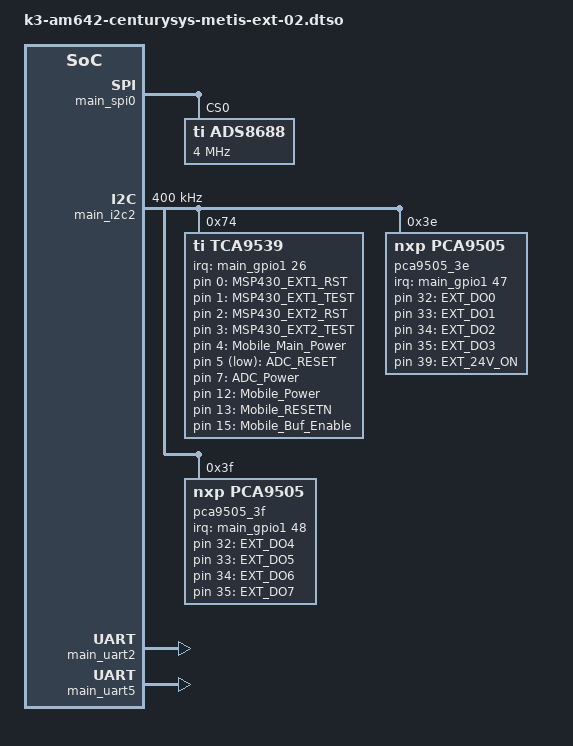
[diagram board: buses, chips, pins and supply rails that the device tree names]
// SPDX-License-Identifier: GPL-2.0
/**
 * DT overlay for RC76-AD expansion board on Century Systems MA-X3xx
 *
 * Copyright (C) 2022 Century Systems
 */

/dts-v1/;
/plugin/;
#include <dt-bindings/gpio/gpio.h>
#include <dt-bindings/interrupt-controller/irq.h>
#include "k3-pinctrl.h"

&main_pmx0 {
	main_spi0_pins_default: main-spi0-pins-default {
		pinctrl-single,pins = <
			AM64X_IOPAD(0x0210, PIN_INPUT, 0) /* (D13) SPI0_CLK */
			AM64X_IOPAD(0x0208, PIN_OUTPUT, 0) /* (D12) SPI0_CS0 */
			AM64X_IOPAD(0x020c, PIN_OUTPUT, 0) /* (C13) SPI0_CS1 */
			AM64X_IOPAD(0x0214, PIN_OUTPUT, 0) /* (A13) SPI0_D0 */
			AM64X_IOPAD(0x0218, PIN_INPUT, 0) /* (A14) SPI0_D1 */
		>;
	};

	main_i2c2_tca9539_pins_default: main-i2c2-tca9539-pins-default {
		pinctrl-single,pins = <
			AM64X_IOPAD(0x01c8, PIN_INPUT, 7) /* (R5) PRG0_PRU1_GPO6.GPIO1_26 */
		>;
	};

	main_i2c2_pca9505_3e_pins_default: main-i2c2-pca9505-3e-pins-default {
		pinctrl-single,pins = <
			AM64X_IOPAD(0x021c, PIN_INPUT, 7) /* (B14) SPI1_CS0.GPIO1_47 */
		>;
	};

	main_i2c2_pca9505_3f_pins_default: main-i2c2-pca9505-3f-pins-default {
		pinctrl-single,pins = <
			AM64X_IOPAD(0x0220, PIN_INPUT, 7) /* (D14) SPI1_CS1.GPIO1_48 */
		>;
	};
};

&main_spi0 {
	#address-cells = <1>;
	#size-cells = <0>;
	pinctrl-names = "default";
	pinctrl-0 = <&main_spi0_pins_default>;
	ti,pindir-d0-out-d1-in = <1>;
	status = "okay";

	ads8688@0 {
		compatible = "ti,ads8688";
		reg = <0>;
		spi-max-frequency = <4000000>;
		spi-cs-low;
		data-size = <16>;
	};
};

&main_i2c2 {
	#address-cells = <1>;
	#size-cells = <0>;
	pinctrl-names = "default";
	pinctrl-0 = <&main_i2c2_pins_default>;
	clock-frequency = <400000>;
	status = "okay";

	tca9539: tca9539@74 {
		compatible = "ti,tca9539";
		reg = <0x74>;
		#address-cells = <1>;
		#size-cells = <0>;
		gpio-controller;
		#gpio-cells = <2>;
		pinctrl-names = "default";
		pinctrl-0 = <&main_i2c2_tca9539_pins_default>;
		interrupt-parent = <&main_gpio1>;
		interrupts = <26 IRQ_TYPE_EDGE_FALLING>;
		interrupt-controller;
		#interrupt-cells = <2>;

		gpio-line-names = "MSP430_EXT1_RST",
				  "MSP430_EXT1_TEST",
				  "MSP430_EXT2_RST",
				  "MSP430_EXT2_TEST",
				  "EXT_Mobile_Power_N",
				  "ADC_RESETn",
				  "ADC_PowerFault",
				  "ADC_PowerCtrl",
				  "RS232_DTR",
				  "RS232_DSR",
				  "RS232_RI",
				  "RS232_DCD",
				  "RC7630_Power",
				  "RC7630_Reset",
				  "RC7630_SafePwrRemove",
				  "RC7630_Buf_Enable";
	};

	pca9505_3e: pca9505@3e {
		compatible = "nxp,pca9505";
		reg = <0x3e>;
		#address-cells = <1>;
		#size-cells = <0>;
		#gpio-cells = <2>;
		pinctrl-names = "default";
		pinctrl-0 = <&main_i2c2_pca9505_3e_pins_default>;
		interrupt-parent = <&main_gpio1>;
		interrupts = <47 IRQ_TYPE_EDGE_FALLING>;
		interrupt-controller;
		#interrupt-cells = <2>;

		gpio-line-names = "EXT_DI0", "EXT_DI1", "EXT_DI2", "EXT_DI3",
				  "EXT_DI4", "EXT_DI5", "EXT_DI6", "EXT_DI7",
				  "EXT_DI8", "EXT_DI9", "EXT_DI10", "EXT_DI11",
				  "", "", "EXT_CounterINT1", "EXT_24V_Fail",
				  "Filtered_DI0", "Filtered_DI1", "Filtered_DI2", "Filtered_DI3",
				  "Filtered_DI4", "Filtered_DI5", "Filtered_DI6", "Filtered_DI7",
				  "Filtered_DI8", "Filtered_DI9", "Filtered_DI10", "Filtered_DI11",
				  "", "", "", "",
				  "EXT_DO0", "EXT_DO1", "EXT_DO2", "EXT_DO3",
				  "", "", "", "EXT_24V_ON";
	};

	pca9505_3f: pca9505@3f {
		compatible = "nxp,pca9505";
		reg = <0x3f>;
		#address-cells = <1>;
		#size-cells = <0>;
		#gpio-cells = <2>;
		pinctrl-names = "default";
		pinctrl-0 = <&main_i2c2_pca9505_3f_pins_default>;
		interrupt-parent = <&main_gpio1>;
		interrupts = <48 IRQ_TYPE_EDGE_FALLING>;
		interrupt-controller;
		#interrupt-cells = <2>;

		gpio-line-names = "EXT_DI12", "EXT_DI13", "EXT_DI14", "EXT_DI15",
				  "EXT_DI16", "EXT_DI17", "EXT_DI18", "EXT_DI19",
				  "EXT_DI20", "EXT_DI21", "EXT_DI22", "EXT_DI23",
				  "", "", "EXT_CounterINT2", "",
				  "Filtered_DI12", "Filtered_DI13", "Filtered_DI14", "Filtered_DI15",
				  "Filtered_DI16", "Filtered_DI17", "Filtered_DI18", "Filtered_DI19",
				  "Filtered_DI20", "Filtered_DI21", "Filtered_DI22", "Filtered_DI23",
				  "", "", "", "",
				  "EXT_DO4", "EXT_DO5", "EXT_DO6", "EXT_DO7",
				  "", "", "", "";
	};
};

&main_uart2 {
	pinctrl-names = "default";
	pinctrl-0 = <&main_uart2_pins_default>;
	status = "okay";
};

&main_uart5 {
	pinctrl-names = "default";
	pinctrl-0 = <&main_uart5_pins_default>;
	linux,rs485-enabled-at-boot-time;
	rs485-rts-active-low;
	status = "okay";
};

&{/} {
	leds_ext: leds_ext {
		compatible = "gpio-leds";
		status = "okay";

		msp430_ext1_rst {
			label = "MSP430_EXT1_RST";
			gpios = <&tca9539 0 GPIO_ACTIVE_HIGH>;
		};

		msp430_ext1_test {
			label = "MSP430_EXT1_TEST";
			gpios = <&tca9539 1 GPIO_ACTIVE_HIGH>;
		};

		msp430_ext2_rst {
			label = "MSP430_EXT2_RST";
			gpios = <&tca9539 2 GPIO_ACTIVE_HIGH>;
		};

		msp430_ext2_test {
			label = "MSP430_EXT2_TEST";
			gpios = <&tca9539 3 GPIO_ACTIVE_HIGH>;
		};

		ext_mobile_main_power {
			label = "Mobile_Main_Power";
			gpios = <&tca9539 4 GPIO_ACTIVE_HIGH>;
			default-state = "on";
		};

		adc_reset_n {
			label = "ADC_RESET";
			gpios = <&tca9539 5 GPIO_ACTIVE_LOW>;
			default-trigger = "oneshot";
		};

		adc_power {
			label = "ADC_Power";
			gpios = <&tca9539 7 GPIO_ACTIVE_HIGH>;
		};

		ext_mobile_power {
			label = "Mobile_Power";
			gpios = <&tca9539 12 GPIO_ACTIVE_HIGH>;
			default-state = "on";
		};

		ext_mobile_reset {
			label = "Mobile_RESETN";
			gpios = <&tca9539 13 GPIO_ACTIVE_HIGH>;
			linux,default-trigger = "oneshot";
			led-pattern = <200 100>;
		};

		ext_mobile_buf_enable {
			label = "Mobile_Buf_Enable";
			gpios = <&tca9539 15 GPIO_ACTIVE_HIGH>;
		};
	};

	leds_ext_3e: leds_ext_3e {
		compatible = "gpio-leds";
		status = "okay";

		ext_do0 {
			label = "EXT_DO0";
			gpios = <&pca9505_3e 32 GPIO_ACTIVE_HIGH>;
			retain-state-suspended;
			retain-state-shutdown;
			default-state = "keep";
		};

		ext_do1 {
			label = "EXT_DO1";
			gpios = <&pca9505_3e 33 GPIO_ACTIVE_HIGH>;
			retain-state-suspended;
			retain-state-shutdown;
			default-state = "keep";
		};

		ext_do2 {
			label = "EXT_DO2";
			gpios = <&pca9505_3e 34 GPIO_ACTIVE_HIGH>;
			retain-state-suspended;
			retain-state-shutdown;
			default-state = "keep";
		};

		ext_do3 {
			label = "EXT_DO3";
			gpios = <&pca9505_3e 35 GPIO_ACTIVE_HIGH>;
			retain-state-suspended;
			retain-state-shutdown;
			default-state = "keep";
		};

		ext_24v_on {
			label = "EXT_24V_ON";
			gpios = <&pca9505_3e 39 GPIO_ACTIVE_HIGH>;
			retain-state-suspended;
			retain-state-shutdown;
			default-state = "keep";
		};
	};

	leds_ext_3f: leds_ext_3f {
		compatible = "gpio-leds";
		status = "okay";

		ext_do4 {
			label = "EXT_DO4";
			gpios = <&pca9505_3f 32 GPIO_ACTIVE_HIGH>;
			retain-state-suspended;
			retain-state-shutdown;
			default-state = "keep";
		};

		ext_do5 {
			label = "EXT_DO5";
			gpios = <&pca9505_3f 33 GPIO_ACTIVE_HIGH>;
			retain-state-suspended;
			retain-state-shutdown;
			default-state = "keep";
		};

		ext_do6 {
			label = "EXT_DO6";
			gpios = <&pca9505_3f 34 GPIO_ACTIVE_HIGH>;
			retain-state-suspended;
			retain-state-shutdown;
			default-state = "keep";
		};

		ext_do7 {
			label = "EXT_DO7";
			gpios = <&pca9505_3f 35 GPIO_ACTIVE_HIGH>;
			retain-state-suspended;
			retain-state-shutdown;
			default-state = "keep";
		};
	};
};
